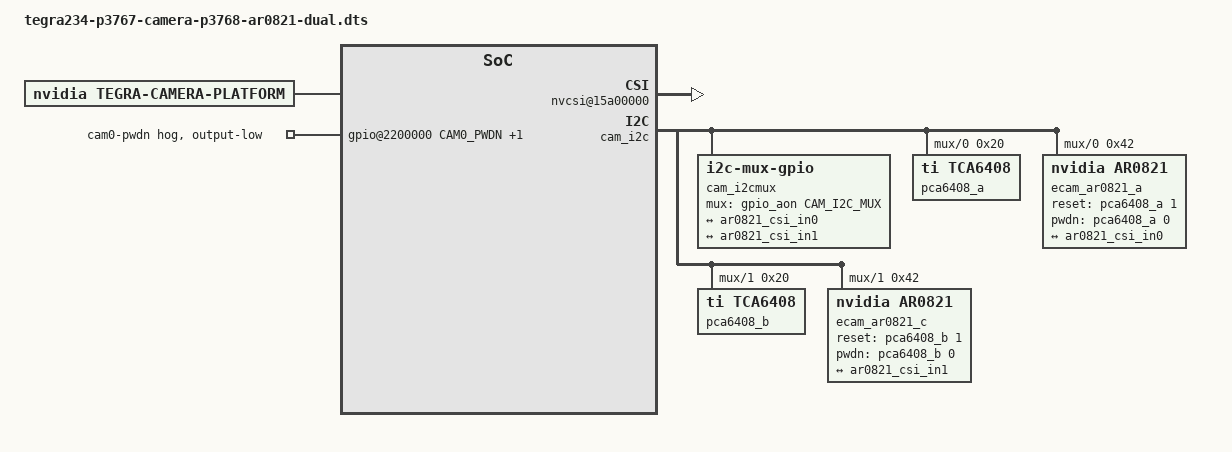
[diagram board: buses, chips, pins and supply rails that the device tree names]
// SPDX-License-Identifier: GPL-2.0-only
// SPDX-FileCopyrightText: Copyright (c) 2022-2023, NVIDIA CORPORATION & AFFILIATES. All rights reserved.
// SPDX-FileCopyrightText: Copyright (c) 2023, e-con Systems. All rights reserved.

/dts-v1/;
/plugin/;

#define CAM0_PWDN	TEGRA234_MAIN_GPIO(H, 6)
#define CAM1_PWDN	TEGRA234_MAIN_GPIO(AC, 0)
#define CAM_I2C_MUX	TEGRA234_AON_GPIO(CC, 3)

#include <dt-bindings/tegra234-p3767-0000-common.h>

/*
 * e-con e-CAM81_CUONX (AR0821 + on-module ISP/MCU, UYVY out) on both CSI
 * ports, 2 lanes each. Sensor/expander nodes and mode tables come from e-con's
 * L4T 35.4.1 release; the CSI wiring (CAM0 = serial_a/port-index 0 with
 * lane_polarity 6, CAM1 = serial_c/port-index 2) instead follows the
 * flash-validated ARK IMX708/IMX219 dual overlays — e-con's devkit DT put
 * CAM0 on serial_b, which contradicts the wiring proven to stream on JAJ.
 */
/ {
	overlay-name = "Camera e-CAM81 Dual";
	jetson-header-name = "Jetson 22pin CSI Connector";
	compatible = JETSON_COMPATIBLE_P3768;

	fragment-camera@0 {
		target-path = "/";
		__overlay__ {
			tegra-capture-vi {
				num-channels = <2>;
				ports {
					#address-cells = <1>;
					#size-cells = <0>;
					port@0 {
						reg = <0>;
						ar0821_vi_in0: endpoint {
							port-index = <0>;
							bus-width = <2>;
							remote-endpoint = <&ar0821_csi_out0>;
						};
					};
					port@1 {
						reg = <1>;
						ar0821_vi_in1: endpoint {
							port-index = <2>;
							bus-width = <2>;
							remote-endpoint = <&ar0821_csi_out1>;
						};
					};
				};
			};
			tegra-camera-platform {
				compatible = "nvidia, tegra-camera-platform";
				num_csi_lanes = <4>;
				max_lane_speed = <1500000>;
				min_bits_per_pixel = <16>;
				vi_peak_byte_per_pixel = <2>;
				vi_bw_margin_pct = <25>;
				max_pixel_rate = <240000>;
				isp_peak_byte_per_pixel = <5>;
				isp_bw_margin_pct = <25>;
				modules {
					module0 {
						badge = "ark_ar0821_front_AR0821";
						position = "front";
						orientation = "1";
						drivernode0 {
							pcl_id = "v4l2_sensor";
							sysfs-device-tree = "/sys/firmware/devicetree/base/bus@0/cam_i2cmux/i2c@0/ecam_ar0821_a@42";
						};
					};
					module1 {
						badge = "ark_ar0821_rear_AR0821";
						position = "rear";
						orientation = "1";
						drivernode0 {
							pcl_id = "v4l2_sensor";
							sysfs-device-tree = "/sys/firmware/devicetree/base/bus@0/cam_i2cmux/i2c@1/ecam_ar0821_c@42";
						};
					};
				};
			};
			bus@0 {
				host1x@13e00000 {
					nvcsi@15a00000 {
						num-channels = <2>;
						#address-cells = <1>;
						#size-cells = <0>;
						status = "okay";
						channel@0 {
							reg = <0>;
							ports {
								#address-cells = <1>;
								#size-cells = <0>;
								port@0 {
									reg = <0>;
									ar0821_csi_in0: endpoint@0 {
										port-index = <0>;
										bus-width = <2>;
										remote-endpoint = <&ar0821_out0>;
									};
								};
								port@1 {
									reg = <1>;
									ar0821_csi_out0: endpoint@1 {
										remote-endpoint = <&ar0821_vi_in0>;
									};
								};
							};
						};
						channel@1 {
							reg = <1>;
							ports {
								#address-cells = <1>;
								#size-cells = <0>;
								port@0 {
									reg = <0>;
									ar0821_csi_in1: endpoint@2 {
										port-index = <2>;
										bus-width = <2>;
										remote-endpoint = <&ar0821_out1>;
									};
								};
								port@1 {
									reg = <1>;
									ar0821_csi_out1: endpoint@3 {
										remote-endpoint = <&ar0821_vi_in1>;
									};
								};
							};
						};
					};
				};
				cam_i2cmux {
					status = "okay";
					compatible = "i2c-mux-gpio";
					#address-cells = <1>;
					#size-cells = <0>;
					i2c-parent = <&cam_i2c>;
					mux-gpios = <&gpio_aon CAM_I2C_MUX GPIO_ACTIVE_HIGH>;
					i2c@0 {
						status = "okay";
						reg = <0>;
						#address-cells = <1>;
						#size-cells = <0>;

						/* Disable the baked-default IMX219 dual on the shared camera i2c-mux so only the AR0821 is active. */
						rbpcv2_imx219_a@10 {
							status = "disabled";
						};

						/* GPIO expander on the e-con ACC-RB-WTB-ADP adapter board. The PCA6408A is
						 * register-compatible with the TCA6408 the stock pca953x driver matches.
						 * Pins 0 (MCU BOOT0) and 1 (CAM_RESET) are driven by the ar0821 driver and
						 * must stay out of the hog; the rest (incl. pin 4 = TRIGGER) idle low, pin 7
						 * high, matching e-con's power-on defaults. */
						pca6408_a: pca6408@20 {
							compatible = "ti,tca6408";
							gpio-controller;
							#gpio-cells = <2>;
							reg = <0x20>;
							status = "okay";
							pca6408-outlow {
								gpio-hog;
								gpios = <2 0 3 0 4 0 5 0 6 0 7 1>;
								output-low;
							};
						};

						ecam_ar0821_a@42 {
							status = "okay";
							compatible = "nvidia,ar0821";
							reg = <0x42>;
							devnode = "video0";
							physical_w = "3.680";
							physical_h = "2.760";
							sensor_model = "ar0821";
							camera_mipi_lanes = <2>;
							camera-mipi-clk = <1200>;
							disable-framesync;
							reset-gpios = <&pca6408_a 1 GPIO_ACTIVE_HIGH>;
							pwdn-gpios = <&pca6408_a 0 GPIO_ACTIVE_HIGH>;

							mode0 { /* AR0821_MODE_1280x720 */
								mclk_khz = "24000";
								num_lanes = "2";
								tegra_sinterface = "serial_a";
								lane_polarity = "6";
								phy_mode = "DPHY";
								discontinuous_clk = "no";
								dpcm_enable = "false";
								cil_settletime = "0";
								dynamic_pixel_bit_depth = "16";
								csi_pixel_bit_depth = "16";
								mode_type = "yuv";
								active_w = "1280";
								active_h = "720";
								pixel_phase = "uyvy";
								readout_orientation = "90";
								line_length = "1280";
								inherent_gain = "1";
								mclk_multiplier = "9.33";
								pix_clk_hz = "150000000";

								min_gain_val = "16";
								max_gain_val = "170"; /* 10.66x */
								step_gain_val = "1";
								default_gain = "16"; /* 1.00x */
								min_hdr_ratio = "1";
								max_hdr_ratio = "1";
								min_framerate = "2000000"; /* 2.0 fps */
								max_framerate = "120000000";
								step_framerate = "1";
								default_framerate = "120000000";
								min_exp_time = "13"; /* us */
								max_exp_time = "683709"; /* us */

								embedded_metadata_height = "0";
							};
							mode1 { /* AR0821_MODE_1920x1080 */
								mclk_khz = "24000";
								num_lanes = "2";
								tegra_sinterface = "serial_a";
								lane_polarity = "6";
								phy_mode = "DPHY";
								discontinuous_clk = "no";
								dpcm_enable = "false";
								cil_settletime = "0";
								dynamic_pixel_bit_depth = "16";
								csi_pixel_bit_depth = "16";
								active_w = "1920";
								active_h = "1080";
								pixel_phase = "uyvy";
								mode_type = "yuv";
								readout_orientation = "90";
								line_length = "1920";
								inherent_gain = "1";
								mclk_multiplier = "9.33";
								pix_clk_hz = "150000000";

								min_gain_val = "16";
								max_gain_val = "170";
								step_gain_val = "1";
								default_gain = "16";

								min_hdr_ratio = "1";
								max_hdr_ratio = "1";
								min_framerate = "2000000"; /* 2.0 fps */
								max_framerate = "120000000";
								step_framerate = "1";
								default_framerate = "7000000";

								min_exp_time = "13";
								max_exp_time = "683709";
								step_exp_time = "1";
								default_exp_time = "2495";

								embedded_metadata_height = "0";
							};
							mode2 { /* AR0821_MODE_3840x2160 */
								mclk_khz = "24000";
								num_lanes = "2";
								tegra_sinterface = "serial_a";
								lane_polarity = "6";
								phy_mode = "DPHY";
								discontinuous_clk = "no";
								dpcm_enable = "false";
								cil_settletime = "0";
								csi_pixel_bit_depth = "16";
								active_w = "3840";
								active_h = "2160";
								pixel_phase = "uyvy";
								mode_type = "yuv";
								readout_orientation = "90";
								line_length = "3840";
								inherent_gain = "1";
								mclk_multiplier = "9.33";
								pix_clk_hz = "150000000";

								gain_factor = "16";
								framerate_factor = "1000000";
								exposure_factor = "1000000";

								min_gain_val = "16";
								max_gain_val = "170"; /* 10.66x */
								step_gain_val = "1";
								default_gain = "16";
								min_hdr_ratio = "1";
								max_hdr_ratio = "1";
								min_framerate = "2000000"; /* 2.0 fps */
								max_framerate = "12000000"; /* 12.0 fps */
								default_framerate = "12000000";
								step_framerate = "1";
								min_exp_time = "13"; /* us */
								max_exp_time = "683709"; /* us */
								step_exp_time = "1";
								default_exp_time = "2495";
								embedded_metadata_height = "0";
							};

							ports {
								#address-cells = <1>;
								#size-cells = <0>;
								port@0 {
									reg = <0>;
									ar0821_out0: endpoint {
										status = "okay";
										port-index = <0>;
										bus-width = <2>;
										remote-endpoint = <&ar0821_csi_in0>;
									};
								};
							};
						};
					};
					i2c@1 {
						status = "okay";
						reg = <1>;
						#address-cells = <1>;
						#size-cells = <0>;

						rbpcv2_imx219_c@10 {
							status = "disabled";
						};

						pca6408_b: pca6408@20 {
							compatible = "ti,tca6408";
							gpio-controller;
							#gpio-cells = <2>;
							reg = <0x20>;
							status = "okay";
							pca6408-outlow {
								gpio-hog;
								gpios = <2 0 3 0 4 0 5 0 6 0 7 1>;
								output-low;
							};
						};

						ecam_ar0821_c@42 {
							status = "okay";
							compatible = "nvidia,ar0821";
							reg = <0x42>;
							devnode = "video1";
							physical_w = "3.680";
							physical_h = "2.760";
							sensor_model = "ar0821";
							camera_mipi_lanes = <2>;
							camera-mipi-clk = <1200>;
							disable-framesync;
							reset-gpios = <&pca6408_b 1 GPIO_ACTIVE_HIGH>;
							pwdn-gpios = <&pca6408_b 0 GPIO_ACTIVE_HIGH>;

							mode0 { /* AR0821_MODE_1280x720 */
								mclk_khz = "24000";
								num_lanes = "2";
								tegra_sinterface = "serial_c";
								phy_mode = "DPHY";
								discontinuous_clk = "no";
								dpcm_enable = "false";
								cil_settletime = "0";
								dynamic_pixel_bit_depth = "16";
								csi_pixel_bit_depth = "16";
								mode_type = "yuv";
								active_w = "1280";
								active_h = "720";
								pixel_phase = "uyvy";
								readout_orientation = "90";
								line_length = "1280";
								inherent_gain = "1";
								mclk_multiplier = "9.33";
								pix_clk_hz = "150000000";

								min_gain_val = "16";
								max_gain_val = "170"; /* 10.66x */
								step_gain_val = "1";
								default_gain = "16"; /* 1.00x */
								min_hdr_ratio = "1";
								max_hdr_ratio = "1";
								min_framerate = "2000000"; /* 2.0 fps */
								max_framerate = "120000000";
								step_framerate = "1";
								default_framerate = "120000000";
								min_exp_time = "13"; /* us */
								max_exp_time = "683709"; /* us */

								embedded_metadata_height = "0";
							};
							mode1 { /* AR0821_MODE_1920x1080 */
								mclk_khz = "24000";
								num_lanes = "2";
								tegra_sinterface = "serial_c";
								phy_mode = "DPHY";
								discontinuous_clk = "no";
								dpcm_enable = "false";
								cil_settletime = "0";
								dynamic_pixel_bit_depth = "16";
								csi_pixel_bit_depth = "16";
								active_w = "1920";
								active_h = "1080";
								pixel_phase = "uyvy";
								mode_type = "yuv";
								readout_orientation = "90";
								line_length = "1920";
								inherent_gain = "1";
								mclk_multiplier = "9.33";
								pix_clk_hz = "150000000";

								min_gain_val = "16";
								max_gain_val = "170";
								step_gain_val = "1";
								default_gain = "16";

								min_hdr_ratio = "1";
								max_hdr_ratio = "1";
								min_framerate = "2000000"; /* 2.0 fps */
								max_framerate = "120000000";
								step_framerate = "1";
								default_framerate = "7000000";

								min_exp_time = "13";
								max_exp_time = "683709";
								step_exp_time = "1";
								default_exp_time = "2495";

								embedded_metadata_height = "0";
							};
							mode2 { /* AR0821_MODE_3840x2160 */
								mclk_khz = "24000";
								num_lanes = "2";
								tegra_sinterface = "serial_c";
								phy_mode = "DPHY";
								discontinuous_clk = "no";
								dpcm_enable = "false";
								cil_settletime = "0";
								csi_pixel_bit_depth = "16";
								active_w = "3840";
								active_h = "2160";
								pixel_phase = "uyvy";
								mode_type = "yuv";
								readout_orientation = "90";
								line_length = "3840";
								inherent_gain = "1";
								mclk_multiplier = "9.33";
								pix_clk_hz = "150000000";

								gain_factor = "16";
								framerate_factor = "1000000";
								exposure_factor = "1000000";

								min_gain_val = "16";
								max_gain_val = "170"; /* 10.66x */
								step_gain_val = "1";
								default_gain = "16";
								min_hdr_ratio = "1";
								max_hdr_ratio = "1";
								min_framerate = "2000000"; /* 2.0 fps */
								max_framerate = "12000000"; /* 12.0 fps */
								default_framerate = "12000000";
								step_framerate = "1";
								min_exp_time = "13"; /* us */
								max_exp_time = "683709"; /* us */
								step_exp_time = "1";
								default_exp_time = "2495";
								embedded_metadata_height = "0";
							};

							ports {
								#address-cells = <1>;
								#size-cells = <0>;
								port@0 {
									reg = <0>;
									ar0821_out1: endpoint {
										status = "okay";
										port-index = <2>;
										bus-width = <2>;
										remote-endpoint = <&ar0821_csi_in1>;
									};
								};
							};
						};
					};
				};
				gpio@2200000 {
					camera-control-output-low {
						gpio-hog;
						output-low;
						gpios = <CAM0_PWDN 0 CAM1_PWDN 0>;
						label = "cam0-pwdn", "cam1-pwdn";
					};
				};
			};
		};
	};
};
